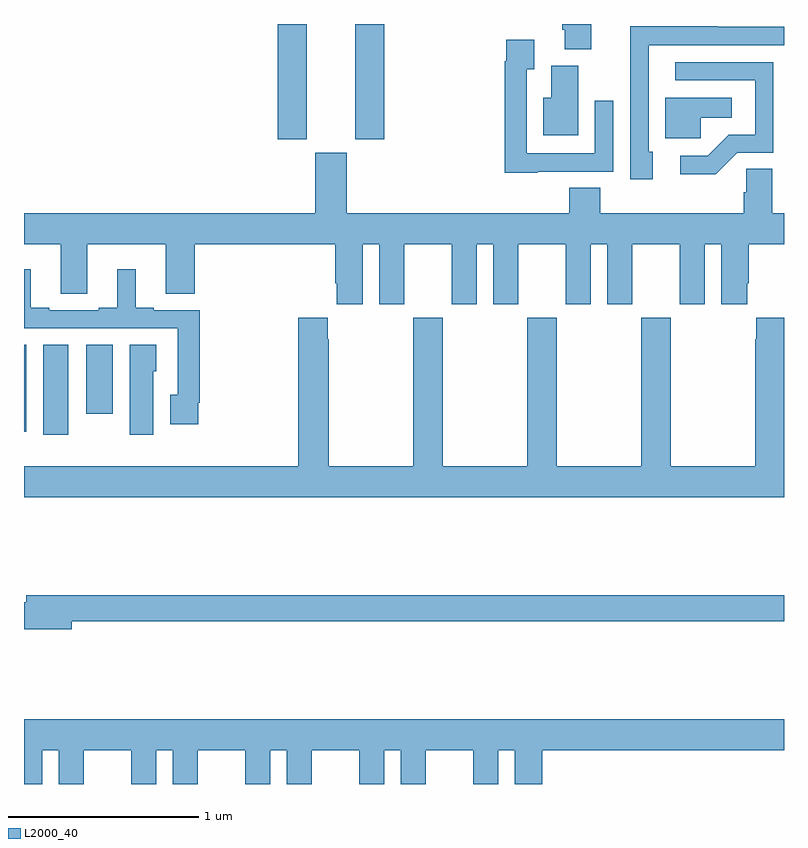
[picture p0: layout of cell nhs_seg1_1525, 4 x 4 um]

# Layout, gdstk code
import gdstk
lib = gdstk.Library(unit=1e-6, precision=1e-09)
def R(c, l, rs):  # rectangles x0, y0, x1, y1
    for r in rs: c.add(gdstk.rectangle(r[:2], r[2:], *l))
def P(c, l, *ps):  # polygons
    for p in ps: c.add(gdstk.Polygon(p, *l))
L2000_40 = (2000, 40)

nhs_seg1_1525 = lib.new_cell('nhs_seg1_1525')
R(nhs_seg1_1525, L2000_40, [(193.1,576.036,193.234,576.512), (193,576.054,193.012,576.512), (193.328,576.147,193.468,576.512), (194.336,577.593,194.488,578.199), (194.744,577.593,194.897,578.199)])
P(nhs_seg1_1525, L2000_40, [(195.985,578.199),(195.833,578.199),(195.833,578.17),(195.845,578.17),(195.845,578.065),(195.985,578.065)],
  [(196.309,577.527),(196.287,577.527),(196.287,578.088),(197,578.088),(197,578.184),(196.652,578.184),(196.652,578.186),(196.19,578.186),(196.19,577.882),(196.191,577.882),(196.191,577.383),(196.309,577.383)],
  [(195.705,577.422),(196.101,577.422),(196.101,577.795),(196.005,577.795),(196.005,577.518),(195.645,577.518),(195.645,577.96),(195.685,577.96),(195.685,578.116),(195.537,578.116),(195.537,578.003),(195.529,578.003),(195.529,577.415),(195.705,577.415)],
  [(196.755,577.521),(196.944,577.521),(196.944,577.998),(196.428,577.998),(196.428,577.902),(196.848,577.902),(196.848,577.617),(196.71,577.617),(196.599,577.506),(196.455,577.506),(196.455,577.409),(196.642,577.409)],
  [(195.916,577.98),(195.776,577.98),(195.776,577.81),(195.734,577.81),(195.734,577.613),(195.916,577.613)],
  [(196.563,577.706),(196.726,577.706),(196.726,577.81),(196.376,577.81),(196.376,577.599),(196.563,577.599)],
  [(194.782,577.04),(194.87,577.04),(194.87,576.723),(195.001,576.723),(195.001,577.04),(195.251,577.04),(195.251,576.723),(195.382,576.723),(195.382,577.04),(195.47,577.04),(195.47,576.723),(195.601,576.723),(195.601,577.04),(195.851,577.04),(195.851,576.723),(195.982,576.723),(195.982,577.04),(196.07,577.04),(196.07,576.723),(196.201,576.723),(196.201,577.04),(196.451,577.04),(196.451,576.723),(196.582,576.723),(196.582,577.04),(196.67,577.04),(196.67,576.723),(196.807,576.723),(196.807,576.835),(196.814,576.835),(196.814,577.04),(197,577.04),(197,577.204),(196.939,577.204),(196.939,577.436),(196.8,577.436),(196.8,577.313),(196.787,577.313),(196.787,577.204),(196.034,577.204),(196.034,577.337),(195.869,577.337),(195.869,577.204),(194.698,577.204),(194.698,577.521),(194.534,577.521),(194.534,577.204),(193,577.204),(193,577.04),(193.193,577.04),(193.193,576.778),(193.333,576.778),(193.333,577.04),(193.745,577.04),(193.745,576.778),(193.898,576.778),(193.898,577.04),(194.639,577.04),(194.639,576.835),(194.645,576.835),(194.645,576.723),(194.782,576.723)],
  [(193.918,576.205),(193.925,576.205),(193.925,576.693),(193.684,576.693),(193.684,576.706),(193.588,576.706),(193.588,576.907),(193.49,576.907),(193.49,576.706),(193.394,576.706),(193.394,576.693),(193.132,576.693),(193.132,576.706),(193.036,576.706),(193.036,576.907),(193,576.907),(193,576.597),(193.809,576.597),(193.809,576.249),(193.769,576.249),(193.769,576.093),(193.918,576.093)],
  [(197,576.652),(196.853,576.652),(196.853,576.539),(196.849,576.539),(196.849,575.872),(196.404,575.872),(196.404,576.652),(196.249,576.652),(196.249,575.872),(195.804,575.872),(195.804,576.652),(195.649,576.652),(195.649,575.872),(195.204,575.872),(195.204,576.652),(195.049,576.652),(195.049,575.872),(194.604,575.872),(194.604,576.539),(194.599,576.539),(194.599,576.652),(194.444,576.652),(194.444,575.872),(193,575.872),(193,575.708),(197,575.708)],
  [(193.681,576.372),(193.696,576.372),(193.696,576.512),(193.556,576.512),(193.556,576.036),(193.681,576.036)],
  [(193.252,575.056),(197,575.056),(197,575.192),(193.013,575.192),(193.013,575.156),(193,575.156),(193,575.014),(193.252,575.014)],
  [(193.096,574.376),(193.184,574.376),(193.184,574.199),(193.315,574.199),(193.315,574.376),(193.565,574.376),(193.565,574.199),(193.696,574.199),(193.696,574.376),(193.784,574.376),(193.784,574.199),(193.915,574.199),(193.915,574.376),(194.165,574.376),(194.165,574.199),(194.296,574.199),(194.296,574.376),(194.384,574.376),(194.384,574.199),(194.515,574.199),(194.515,574.376),(194.765,574.376),(194.765,574.199),(194.896,574.199),(194.896,574.376),(194.984,574.376),(194.984,574.199),(195.115,574.199),(195.115,574.376),(195.365,574.376),(195.365,574.199),(195.496,574.199),(195.496,574.376),(195.584,574.376),(195.584,574.199),(195.728,574.199),(195.728,574.376),(197,574.376),(197,574.54),(193,574.54),(193,574.199),(193.096,574.199)])

lib.write_gds('nhs_seg1_1525.gds')
